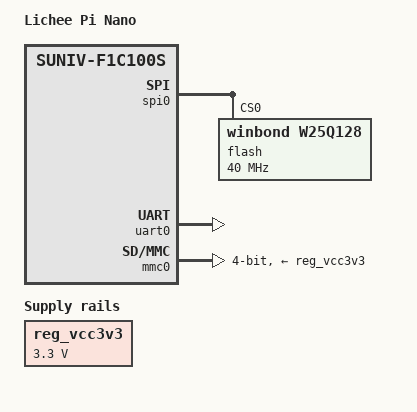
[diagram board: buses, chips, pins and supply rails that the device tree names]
// SPDX-License-Identifier: (GPL-2.0+ OR X11)
/*
 * Copyright 2018 Icenowy Zheng <icenowy@aosc.io>
 */

/dts-v1/;
#include "suniv-f1c100s.dtsi"

/ {
	model = "Lichee Pi Nano";
	compatible = "licheepi,licheepi-nano", "allwinner,suniv-f1c100s";

	aliases {
		serial0 = &uart0;
	};

	chosen {
		stdout-path = "serial0:115200n8";
	};

	reg_vcc3v3: vcc3v3 {
		compatible = "regulator-fixed";
		regulator-name = "vcc3v3";
		regulator-min-microvolt = <3300000>;
		regulator-max-microvolt = <3300000>;
	};
};

&spi0 {
	pinctrl-names = "default";
	pinctrl-0 = <&spi0_pins_a>;
	status = "okay";

	flash@0 {
		#address-cells = <1>;
		#size-cells = <1>;
		compatible = "winbond,w25q128", "jedec,spi-nor";
		reg = <0>;
		spi-max-frequency = <40000000>;
	};
};


&uart0 {
	pinctrl-names = "default";
	pinctrl-0 = <&uart0_pe_pins>;
	status = "okay";
};

&mmc0 {
	vmmc-supply = <&reg_vcc3v3>;
	bus-width = <4>;
	broken-cd;
	status = "okay";
};
